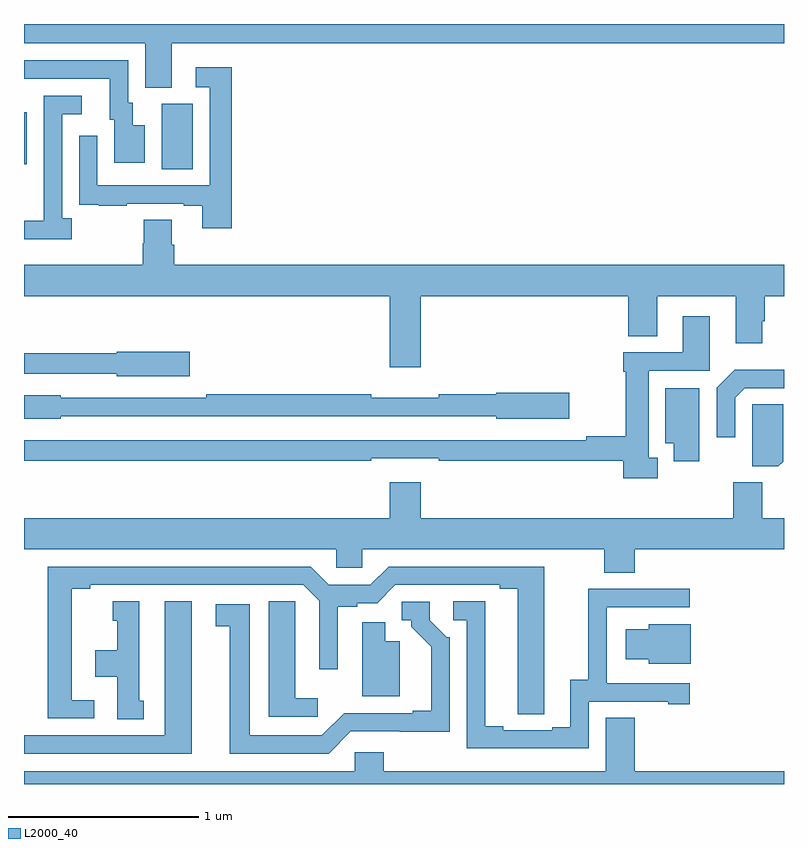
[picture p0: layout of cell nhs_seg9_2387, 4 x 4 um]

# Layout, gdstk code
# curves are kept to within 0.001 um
import gdstk
lib = gdstk.Library(unit=1e-6, precision=1e-09)
def R(c, l, rs):  # rectangles x0, y0, x1, y1
    for r in rs: c.add(gdstk.rectangle(r[:2], r[2:], *l))
def P(c, l, *ps):  # polygons
    for p in ps: c.add(gdstk.Polygon(p, *l))
L2000_40 = (2000, 40)

nhs_seg9_2387 = lib.new_cell('nhs_seg9_2387')
R(nhs_seg9_2387, L2000_40, [(247.724,1215.736,247.888,1216.08), (247,1215.761,247.015,1216.036)])
P(nhs_seg9_2387, L2000_40, [(251,1216.5),(247,1216.5),(247,1216.4),(247.637,1216.4),(247.637,1216.165),(247.777,1216.165),(247.777,1216.4),(251,1216.4)],
  [(247.636,1215.967),(247.573,1215.967),(247.573,1216.086),(247.548,1216.086),(247.548,1216.308),(247,1216.308),(247,1216.212),(247.451,1216.212),(247.451,1215.996),(247.475,1215.996),(247.475,1215.771),(247.636,1215.771)],
  [(248.093,1216.273),(247.905,1216.273),(247.905,1216.167),(247.977,1216.167),(247.977,1215.651),(247.386,1215.651),(247.386,1215.913),(247.29,1215.913),(247.29,1215.658),(247.291,1215.658),(247.291,1215.549),(247.393,1215.549),(247.393,1215.543),(247.541,1215.543),(247.541,1215.555),(247.841,1215.555),(247.841,1215.543),(247.937,1215.543),(247.937,1215.426),(248.093,1215.426)],
  [(247.252,1215.478),(247.2,1215.478),(247.2,1216.026),(247.303,1216.026),(247.303,1216.122),(247.104,1216.122),(247.104,1215.665),(247.103,1215.665),(247.103,1215.465),(247,1215.465),(247,1215.368),(247.252,1215.368)],
  [(247.79,1215.338),(247.777,1215.338),(247.777,1215.47),(247.63,1215.47),(247.63,1215.345),(247.625,1215.345),(247.625,1215.232),(247,1215.232),(247,1215.068),(248.924,1215.068),(248.924,1214.694),(249.088,1214.694),(249.088,1215.068),(250.181,1215.068),(250.181,1214.857),(250.333,1214.857),(250.333,1215.068),(250.745,1215.068),(250.745,1214.82),(250.885,1214.82),(250.885,1214.935),(250.898,1214.935),(250.898,1215.068),(251,1215.068),(251,1215.232),(247.79,1215.232)],
  [(250.336,1214.218),(250.288,1214.218),(250.288,1214.676),(250.609,1214.676),(250.609,1214.962),(250.466,1214.962),(250.466,1214.772),(250.154,1214.772),(250.154,1214.669),(250.166,1214.669),(250.166,1214.33),(249.958,1214.33),(249.958,1214.31),(247,1214.31),(247,1214.202),(248.828,1214.202),(248.828,1214.214),(249.184,1214.214),(249.184,1214.202),(250.154,1214.202),(250.154,1214.108),(250.336,1214.108)],
  [(247.873,1214.775),(247.488,1214.775),(247.488,1214.767),(247,1214.767),(247,1214.658),(247.488,1214.658),(247.488,1214.645),(247.873,1214.645)],
  [(250.743,1214.532),(250.794,1214.583),(251,1214.583),(251,1214.68),(250.741,1214.68),(250.647,1214.586),(250.647,1214.325),(250.743,1214.325)],
  [(250.555,1214.584),(250.376,1214.584),(250.376,1214.294),(250.421,1214.294),(250.421,1214.198),(250.555,1214.198)],
  [(247.194,1214.436),(249.486,1214.436),(249.486,1214.423),(249.871,1214.423),(249.871,1214.558),(249.486,1214.558),(249.486,1214.552),(249.184,1214.552),(249.184,1214.533),(248.828,1214.533),(248.828,1214.552),(247.96,1214.552),(247.96,1214.532),(247.194,1214.532),(247.194,1214.545),(247,1214.545),(247,1214.423),(247.194,1214.423)],
  [(250.995,1214.196),(250.995,1214.498),(250.833,1214.498),(250.833,1214.387),(250.832,1214.387),(250.832,1214.173),(250.971,1214.173)],
  [(250.214,1213.736),(251,1213.736),(251,1213.9),(250.885,1213.9),(250.885,1214.088),(250.733,1214.088),(250.733,1213.9),(249.088,1213.9),(249.088,1214.089),(248.924,1214.089),(248.924,1213.9),(247,1213.9),(247,1213.736),(248.643,1213.736),(248.643,1213.638),(248.781,1213.638),(248.781,1213.736),(250.054,1213.736),(250.054,1213.612),(250.214,1213.612)],
  [(247.369,1212.942),(247.252,1212.942),(247.252,1213.528),(247.348,1213.528),(247.348,1213.548),(248.469,1213.548),(248.553,1213.464),(248.553,1213.104),(248.65,1213.104),(248.65,1213.432),(248.754,1213.432),(248.754,1213.452),(248.859,1213.452),(248.955,1213.548),(249.503,1213.548),(249.503,1213.528),(249.599,1213.528),(249.599,1212.868),(249.738,1212.868),(249.739,1213.644),(248.919,1213.644),(248.823,1213.548),(248.605,1213.548),(248.509,1213.644),(247.124,1213.644),(247.124,1212.846),(247.369,1212.846)],
  [(249.972,1212.933),(250.391,1212.933),(250.391,1212.921),(250.504,1212.921),(250.504,1213.029),(250.068,1213.029),(250.068,1213.431),(250.504,1213.431),(250.504,1213.527),(249.97,1213.527),(249.97,1213.049),(249.875,1213.049),(249.875,1212.798),(249.779,1212.798),(249.779,1212.783),(249.523,1212.783),(249.523,1212.803),(249.427,1212.803),(249.427,1213.463),(249.258,1213.463),(249.258,1213.362),(249.33,1213.362),(249.33,1212.687),(249.972,1212.687)],
  [(248.545,1212.952),(248.428,1212.952),(248.428,1213.355),(248.427,1213.355),(248.427,1213.463),(248.288,1213.463),(248.288,1212.855),(248.545,1212.855)],
  [(247.63,1212.939),(247.606,1212.939),(247.606,1213.462),(247.466,1213.462),(247.466,1213.359),(247.49,1213.359),(247.49,1213.204),(247.376,1213.204),(247.376,1213.064),(247.49,1213.064),(247.49,1212.841),(247.63,1212.841)],
  [(247.882,1213.462),(247.742,1213.462),(247.742,1212.756),(247,1212.756),(247,1212.66),(247.882,1212.66)],
  [(248.721,1212.777),(249.24,1212.776),(249.24,1213.272),(249.225,1213.272),(249.135,1213.362),(249.135,1213.458),(248.988,1213.458),(248.988,1213.362),(249.038,1213.362),(249.038,1213.327),(249.143,1213.222),(249.143,1212.886),(249.047,1212.886),(249.047,1212.873),(248.685,1212.873),(248.568,1212.756),(248.188,1212.756),(248.188,1213.446),(248.01,1213.446),(248.01,1213.33),(248.084,1213.33),(248.084,1212.66),(248.604,1212.66)],
  [(248.977,1213.252),(248.902,1213.252),(248.902,1213.351),(248.78,1213.351),(248.78,1212.962),(248.977,1212.962)],
  [(250.51,1213.342),(250.287,1213.342),(250.287,1213.315),(250.166,1213.315),(250.166,1213.157),(250.287,1213.157),(250.287,1213.133),(250.51,1213.133)],
  [(251,1212.568),(250.214,1212.568),(250.214,1212.848),(250.061,1212.848),(250.061,1212.568),(248.894,1212.568),(248.894,1212.666),(248.742,1212.666),(248.742,1212.568),(247,1212.568),(247,1212.5),(251,1212.5)])

lib.write_gds('nhs_seg9_2387.gds')
